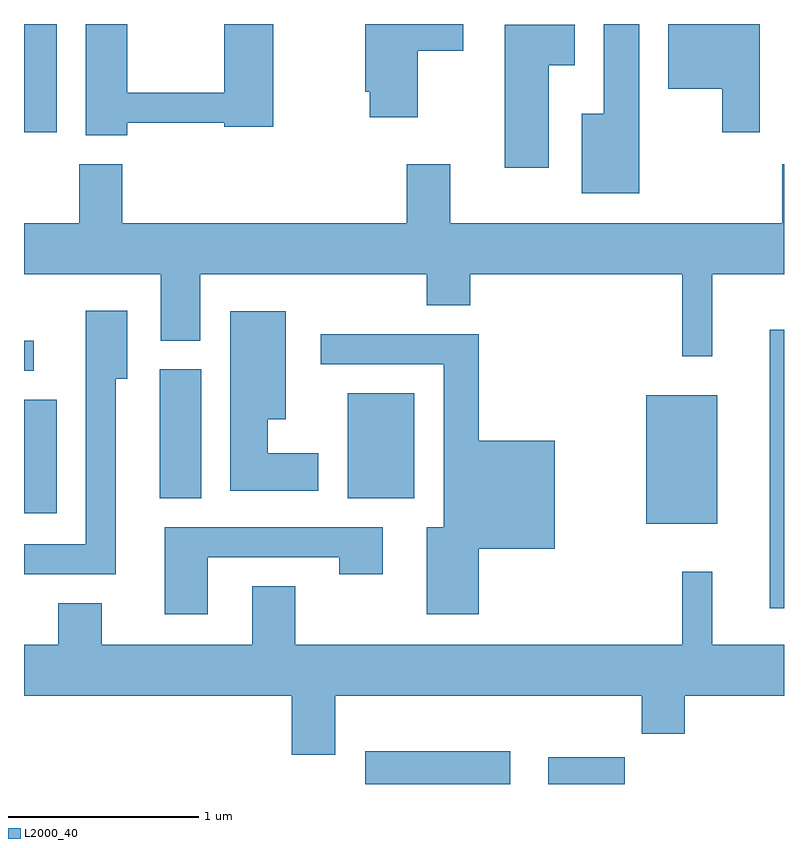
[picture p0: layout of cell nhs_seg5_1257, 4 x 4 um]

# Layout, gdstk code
import gdstk
lib = gdstk.Library(unit=1e-6, precision=1e-09)
def R(c, l, rs):  # rectangles x0, y0, x1, y1
    for r in rs: c.add(gdstk.rectangle(r[:2], r[2:], *l))
def P(c, l, *ps):  # polygons
    for p in ps: c.add(gdstk.Polygon(p, *l))
L2000_40 = (2000, 40)

nhs_seg5_1257 = lib.new_cell('nhs_seg5_1257')
R(nhs_seg5_1257, L2000_40, [(223.406,1494.072,224.169,1494.244), (224.371,1494.072,224.774,1494.214), (225.536,1494.998,225.611,1496.464), (224.886,1495.441,225.259,1496.119), (221.611,1495.496,221.784,1496.094), (222.326,1495.576,222.544,1496.254), (223.316,1495.576,223.664,1496.129), (221.611,1496.246,221.663,1496.404), (221.611,1497.501,221.784,1498.072)])
P(nhs_seg5_1257, L2000_40, [(224.849,1498.072),(224.661,1498.072),(224.661,1497.599),(224.546,1497.599),(224.546,1497.181),(224.849,1497.181)],
  [(223.684,1497.931),(223.924,1497.931),(223.924,1498.072),(223.406,1498.072),(223.406,1497.716),(223.431,1497.716),(223.431,1497.581),(223.684,1497.581)],
  [(225.484,1498.072),(225.001,1498.072),(225.001,1497.731),(225.286,1497.731),(225.286,1497.501),(225.484,1497.501)],
  [(222.154,1497.551),(222.666,1497.551),(222.666,1497.531),(222.924,1497.531),(222.924,1498.072),(222.666,1498.072),(222.666,1497.709),(222.154,1497.709),(222.154,1498.072),(221.936,1498.072),(221.936,1497.486),(222.154,1497.486)],
  [(224.374,1497.856),(224.509,1497.856),(224.509,1498.069),(224.141,1498.069),(224.141,1497.316),(224.374,1497.316)],
  [(223.854,1497.334),(223.626,1497.334),(223.626,1497.024),(222.129,1497.024),(222.129,1497.334),(221.901,1497.334),(221.901,1497.024),(221.611,1497.024),(221.611,1496.756),(222.331,1496.756),(222.331,1496.406),(222.539,1496.406),(222.539,1496.756),(223.731,1496.756),(223.731,1496.591),(223.959,1496.591),(223.959,1496.756),(225.076,1496.756),(225.076,1496.323),(225.234,1496.323),(225.234,1496.756),(225.611,1496.756),(225.611,1497.334),(225.601,1497.334),(225.601,1497.024),(223.854,1497.024)],
  [(222.094,1496.206),(222.154,1496.206),(222.154,1496.564),(221.936,1496.564),(221.936,1495.334),(221.611,1495.334),(221.611,1495.176),(222.094,1495.176)],
  [(223.159,1495.814),(222.894,1495.814),(222.894,1495.991),(222.989,1495.991),(222.989,1496.559),(222.696,1496.559),(222.696,1495.616),(223.159,1495.616)],
  [(224.004,1495.311),(224.404,1495.311),(224.404,1495.879),(224.004,1495.879),(224.004,1496.439),(223.173,1496.439),(223.173,1496.281),(223.821,1496.281),(223.821,1495.424),(223.731,1495.424),(223.731,1494.966),(224.004,1494.966)],
  [(222.579,1495.266),(223.271,1495.266),(223.271,1495.176),(223.499,1495.176),(223.499,1495.424),(222.351,1495.424),(222.351,1494.966),(222.579,1494.966)],
  [(223.249,1494.536),(224.861,1494.536),(224.861,1494.336),(225.089,1494.336),(225.089,1494.536),(225.611,1494.536),(225.611,1494.804),(225.234,1494.804),(225.234,1495.188),(225.076,1495.188),(225.076,1494.804),(223.039,1494.804),(223.039,1495.114),(222.811,1495.114),(222.811,1494.804),(222.019,1494.804),(222.019,1495.024),(221.791,1495.024),(221.791,1494.804),(221.611,1494.804),(221.611,1494.536),(223.021,1494.536),(223.021,1494.226),(223.249,1494.226)])

lib.write_gds('nhs_seg5_1257.gds')
